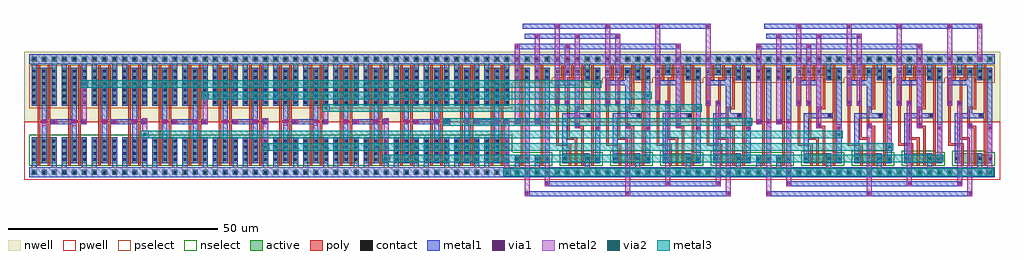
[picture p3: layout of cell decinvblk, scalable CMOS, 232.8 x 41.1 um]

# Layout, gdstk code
from math import pi, radians
import gdstk
lib = gdstk.Library(unit=1e-6, precision=1e-09)
def R(c, l, rs):  # rectangles x0, y0, x1, y1
    for r in rs: c.add(gdstk.rectangle(r[:2], r[2:], *l))
def A(c, l, x, y, w, h, nx, ny, dx, dy):  # array of equal rectangles
    R(c, l, [(x+i*dx, y+j*dy, x+i*dx+w, y+j*dy+h) for i in range(nx) for j in range(ny)])
contact = (25, 0)
pwell = (41, 0)
nwell = (42, 0)
active = (43, 0)
pselect = (44, 0)
nselect = (45, 0)
poly = (46, 0)
metal1 = (49, 0)
via1 = (50, 0)
metal2 = (51, 0)
via2 = (61, 0)
metal3 = (62, 0)

and3_1x = lib.new_cell('and3_1x')
A(and3_1x, contact, 0.3, -0.3, 0.6, 0.6, 5, 2, 2.4, 27)
A(and3_1x, contact, 0.3, 23.7, 0.6, 0.6, 3, 1, 2.4, 0)
R(and3_1x, contact, [(9.9,2.85,10.5,3.45), (2.1,3,2.7,3.6), (7.5,3,8.1,3.6), (5.1,10.8,5.7,11.4), (5.1,10.8,5.7,11.4), (7.8,13.2,8.4,13.8), (0.3,16.2,0.9,16.8), (2.7,16.2,3.3,16.8), (7.5,22.35,8.1,22.95), (9.9,22.35,10.5,22.95), (7.5,23.85,8.1,24.45), (9.9,23.85,10.5,24.45)])
A(and3_1x, pwell, -0.9, -1.5, 3, 3, 5, 1, 2.4, 0)
A(and3_1x, pwell, 0.6, 0.3, 6, 6, 3, 1, 1.5, 0)
R(and3_1x, pwell, [(-1.8,-1.8,12.6,12), (0,0.3,4.8,6.3), (5.4,0.3,10.2,6.3), (6,0.3,12,6), (7.8,0.3,12.6,6), (5.55,0.45,10.125,4.95), (5.475,0.6,10.05,5.1), (0.15,0.75,4.725,5.25), (7.875,0.75,12.45,5.25), (1.725,1.05,6.975,5.55), (3.225,1.05,8.475,5.55)])
A(and3_1x, nwell, -1.8, 21.3, 4.8, 5.4, 3, 1, 2.4, 0)
A(and3_1x, nwell, -1.2, 21.3, 6, 5.4, 3, 1, 2.4, 0)
A(and3_1x, nwell, -0.9, 25.5, 3, 3, 5, 1, 2.4, 0)
R(and3_1x, nwell, [(-1.8,12,12.6,28.8), (5.4,20.1,10.2,26.7), (6,20.1,12,26.7), (7.8,20.1,12.6,26.7), (5.55,21.15,10.125,25.65), (7.875,21.15,12.45,25.65), (0.675,21.3,5.25,25.8), (3.15,21.45,7.725,25.95), (5.475,21.45,10.05,25.95), (-1.65,21.75,2.925,26.25), (0.75,21.75,5.325,26.25), (3.075,21.75,7.65,26.25)])
A(and3_1x, active, 0, -0.6, 1.2, 1.2, 5, 2, 2.4, 27)
A(and3_1x, active, 2.4, 2.1, 2.4, 2.4, 3, 1, 1.5, 0)
A(and3_1x, active, 0, 23.1, 1.2, 1.8, 3, 1, 2.4, 0)
A(and3_1x, active, 0.6, 23.1, 2.4, 1.8, 3, 1, 2.4, 0)
R(and3_1x, active, [(1.8,2.1,3,4.5), (7.2,2.1,8.4,4.5), (7.8,2.1,10.2,4.2), (9.6,2.1,10.8,4.2), (7.35,2.25,8.325,3.15), (7.275,2.4,8.25,3.3), (1.95,2.55,2.925,3.45), (9.675,2.55,10.65,3.45), (3.525,2.85,5.175,3.75), (5.025,2.85,6.675,3.75), (7.2,21.9,8.4,24.9), (7.8,21.9,10.2,24.9), (9.6,21.9,10.8,24.9), (7.35,22.95,8.325,23.85), (9.675,22.95,10.65,23.85), (2.475,23.1,3.45,24), (4.95,23.25,5.925,24.15), (7.275,23.25,8.25,24.15), (0.15,23.55,1.125,24.45), (2.55,23.55,3.525,24.45), (4.875,23.55,5.85,24.45)])
A(and3_1x, pselect, -0.6, -1.2, 2.4, 2.4, 5, 1, 2.4, 0)
A(and3_1x, pselect, -0.6, 22.5, 2.4, 3, 3, 1, 2.4, 0)
A(and3_1x, pselect, 0, 22.5, 3.6, 3, 3, 1, 2.4, 0)
R(and3_1x, pselect, [(6.6,21.3,9,25.5), (7.2,21.3,10.8,25.5), (9,21.3,11.4,25.5), (6.75,22.35,8.925,24.45), (9.075,22.35,11.25,24.45), (1.875,22.5,4.05,24.6), (4.35,22.65,6.525,24.75), (6.675,22.65,8.85,24.75), (-0.45,22.95,1.725,25.05), (1.95,22.95,4.125,25.05), (4.275,22.95,6.45,25.05)])
A(and3_1x, nselect, 1.8, 1.5, 3.6, 3.6, 3, 1, 1.5, 0)
A(and3_1x, nselect, -0.6, 25.8, 2.4, 2.4, 5, 1, 2.4, 0)
R(and3_1x, nselect, [(1.2,1.5,3.6,5.1), (6.6,1.5,9,5.1), (7.2,1.5,10.8,4.8), (9,1.5,11.4,4.8), (6.75,1.65,8.925,3.75), (6.675,1.8,8.85,3.9), (1.35,1.95,3.525,4.05), (9.075,1.95,11.25,4.05), (2.925,2.25,5.775,4.35), (4.425,2.25,7.275,4.35)])
A(and3_1x, poly, 3.3, 1.5, 0.6, 3.6, 3, 1, 1.5, 0)
A(and3_1x, poly, 1.5, 22.5, 0.6, 3, 3, 1, 2.4, 0)
R(and3_1x, poly, [(8.7,1.5,9.3,4.8), (8.7,4.5,9.3,13.8), (3.3,4.8,3.9,6.9), (4.8,4.8,5.4,8.4), (6.3,4.8,6.9,11.1), (0.3,6.3,0.9,16.8), (0.3,6.3,3.9,6.9), (3,7.8,3.6,16.8), (3,7.8,5.4,8.4), (4.8,10.5,6,11.7), (4.8,10.5,6,11.7), (5.1,10.5,6.9,11.1), (5.1,10.5,5.7,11.4), (4.8,10.8,5.7,11.4), (4.8,10.8,5.4,15.6), (5.1,10.8,5.7,11.4), (7.5,12.9,8.7,14.1), (7.8,13.2,9.3,13.8), (8.7,13.2,9.3,21.6), (8.7,13.2,9.3,13.8), (4.8,15,6.9,15.6), (6.3,15,6.9,22.8), (0,15.9,1.2,17.1), (2.4,15.9,3.6,17.1), (0.3,16.2,0.9,22.5), (2.7,16.2,3.6,16.8), (3,16.2,3.6,22.5), (8.7,21,9.3,21.6), (8.7,21.3,9.3,25.5), (0.3,21.9,2.1,22.5), (1.5,21.9,2.1,22.8), (3,21.9,4.5,22.5), (3.9,21.9,4.5,22.8)])
A(and3_1x, metal1, -0.6, -1.2, 4.8, 2.4, 4, 1, 2.4, 0)
A(and3_1x, metal1, 0, -0.6, 1.2, 1.2, 5, 1, 2.4, 0)
A(and3_1x, metal1, 0, 23.1, 1.2, 1.8, 3, 1, 2.4, 0)
A(and3_1x, metal1, 0, 26.4, 1.2, 1.2, 4, 1, 2.4, 0)
R(and3_1x, metal1, [(-0.6,-1.2,1.8,1.2), (-0.6,-1.2,4.2,1.2), (7.2,-0.6,8.4,3.15), (1.8,2.1,3,4.5), (7.2,2.1,8.4,4.5), (9.6,2.1,10.8,4.2), (9.6,3,10.8,4.2), (9.6,3,10.8,11.1), (1.8,3.3,3,14.1), (9.6,9.9,10.8,11.1), (9.6,9.9,10.8,21.15), (4.8,10.5,6,11.7), (4.8,10.5,6,11.7), (4.8,10.5,6,11.7), (4.95,10.65,5.85,11.55), (1.8,12.9,6,14.1), (4.8,12.9,8.7,14.1), (4.8,12.9,6,21.9), (7.5,12.9,8.7,14.1), (0,15.9,1.2,17.1), (0,15.9,1.2,17.1), (2.4,15.9,3.6,17.1), (2.4,15.9,3.6,17.1), (0.15,16.05,1.05,16.95), (2.55,16.05,3.45,16.95), (9.6,19.95,10.8,21.15), (9.6,19.95,10.8,23.1), (0,20.7,1.2,24.3), (0,20.7,6,21.9), (4.8,20.7,6,24.3), (7.2,21.9,8.4,24.9), (9.6,21.9,10.8,24.9), (2.4,23.7,3.6,27.6), (7.2,23.7,8.4,27.6), (-0.6,25.8,1.8,28.2), (-0.6,25.8,4.2,28.2), (1.8,25.8,9,28.2), (6.6,25.8,11.4,28.2), (0,26.4,1.2,27.6), (4.8,26.4,8.4,27.6), (7.2,26.4,8.4,27.6), (9.6,26.4,10.8,27.6), (9.6,26.4,10.8,27.6)])
R(and3_1x, via1, [(9.9,10.2,10.5,10.8), (5.1,10.8,5.7,11.4), (0.3,16.2,0.9,16.8), (2.7,16.2,3.3,16.8)])
R(and3_1x, metal2, [(9.6,9.9,10.8,11.1), (4.8,10.5,6,11.7), (0,15.9,1.2,17.1), (2.4,15.9,3.6,17.1)])

inv_1x = lib.new_cell('inv_1x')
R(inv_1x, contact, [(0.3,-0.3,0.9,0.3), (2.7,-0.3,3.3,0.3), (0.3,2.85,0.9,3.45), (2.7,2.85,3.3,3.45), (0.6,11.7,1.2,12.3), (0.3,22.35,0.9,22.95), (2.7,22.35,3.3,22.95), (0.3,23.85,0.9,24.45), (2.7,23.85,3.3,24.45), (0.3,26.7,0.9,27.3), (2.7,26.7,3.3,27.3)])
R(inv_1x, pwell, [(-1.8,-1.8,5.4,12), (-0.9,-1.5,2.1,1.5), (1.5,-1.5,4.5,1.5), (-1.8,0.3,3,6), (-1.2,0.3,4.8,6), (0.6,0.3,5.4,6), (-1.65,0.9,2.925,5.4), (0.675,0.9,5.25,5.4), (0.75,0.9,5.25,6)])
R(inv_1x, nwell, [(-1.8,12,5.4,28.8), (-1.8,20.1,3,26.7), (-1.2,20.1,4.8,26.7), (0.6,20.1,5.4,26.7), (-1.65,21.15,2.925,25.65), (0.675,21.15,5.25,25.65), (-0.9,25.5,2.1,28.5), (1.5,25.5,4.5,28.5)])
R(inv_1x, active, [(0,-0.6,1.2,0.6), (2.4,-0.6,3.6,0.6), (0,2.1,1.2,4.2), (0.6,2.1,3,4.2), (2.4,2.1,3.6,4.2), (0.15,2.7,1.125,3.6), (2.475,2.7,3.45,3.6), (2.55,2.7,3.45,4.2), (0,21.9,1.2,24.9), (0.6,21.9,3,24.9), (2.4,21.9,3.6,24.9), (0.15,22.95,1.125,23.85), (2.475,22.95,3.45,23.85), (0,26.4,1.2,27.6), (2.4,26.4,3.6,27.6)])
R(inv_1x, pselect, [(-0.6,-1.2,1.8,1.2), (1.8,-1.2,4.2,1.2), (-0.6,21.3,1.8,25.5), (0,21.3,3.6,25.5), (1.8,21.3,4.2,25.5), (-0.45,22.35,1.725,24.45), (1.875,22.35,4.05,24.45)])
R(inv_1x, nselect, [(-0.6,1.5,1.8,4.8), (0,1.5,3.6,4.8), (1.8,1.5,4.2,4.8), (-0.45,2.1,1.725,4.2), (1.875,2.1,4.05,4.2), (1.95,2.1,4.05,4.8), (-0.6,25.8,1.8,28.2), (1.8,25.8,4.2,28.2)])
R(inv_1x, poly, [(1.5,1.5,2.1,4.8), (1.5,4.5,2.1,12.3), (0.3,11.4,1.5,12.6), (0.6,11.7,2.1,12.3), (1.5,11.7,2.1,21.6), (1.5,21.3,2.1,25.5)])
R(inv_1x, metal1, [(-0.6,-1.2,4.2,1.2), (-0.6,-1.2,4.2,1.2), (0,-0.6,1.2,0.6), (0,-0.6,1.2,3.15), (2.4,-0.6,3.6,0.6), (0,2.1,1.2,4.2), (2.4,2.1,3.6,4.2), (2.4,3.15,3.6,12.6), (0,11.4,1.2,12.6), (0.3,11.4,1.5,12.6), (0.3,11.4,1.5,12.6), (2.4,11.4,3.6,12.6), (2.4,11.4,3.6,22.95), (2.55,11.55,3.45,12.45), (0,21.9,1.2,24.9), (2.4,21.9,3.6,24.9), (0,23.85,1.2,27.6), (-0.6,25.8,1.8,28.2), (-0.6,25.8,4.2,28.2), (0,26.4,1.2,27.6), (0,26.4,1.2,27.6), (2.4,26.4,3.6,27.6)])
R(inv_1x, via1, [(0.3,11.7,0.9,12.3), (2.7,11.7,3.3,12.3)])
R(inv_1x, metal2, [(0,11.4,1.2,12.6), (2.4,11.4,3.6,12.6)])

endec = lib.new_cell('endec')
A(endec, metal1, 0, -10.2, 1.2, 1.2, 3, 1, 24, 0)
A(endec, metal1, 6.6, -5.7, 14.4, 2.4, 3, 2, 12, 27)
A(endec, metal1, 2.4, 27.3, 1.2, 1.2, 3, 1, 9.6, 0)
A(endec, metal1, 7.2, 29.7, 1.2, 1.2, 4, 1, 12, 0)
A(endec, metal1, 7.2, 29.7, 13.2, 1.2, 3, 1, 12, 0)
R(endec, metal1, [(0,-10.2,25.2,-9), (24,-10.2,49.2,-9), (4.8,-7.8,6,-6.6), (4.8,-7.8,34.8,-6.6), (33.6,-7.8,34.8,-6.6), (33.6,-7.8,46.8,-6.6), (45.6,-7.8,46.8,-6.6), (-3,-5.7,9,-3.3), (1.8,-5.7,9,-3.3), (0,6.9,1.2,8.1), (0,6.9,1.2,8.1), (4.8,6.9,6,8.1), (4.8,6.9,6,8.1), (-3,21.3,4.2,23.7), (1.8,21.3,9,23.7), (-2.4,24.9,-1.2,26.1), (-2.4,24.9,-1.2,26.1), (-2.4,24.9,10.8,26.1), (9.6,24.9,10.8,26.1), (9.6,24.9,37.2,26.1), (36,24.9,37.2,26.1), (0,27.3,3.6,28.5), (2.4,27.3,13.2,28.5), (12,27.3,22.8,28.5), (-0.45,29.7,8.4,30.9)])
A(endec, via1, 0.3, -9.9, 0.6, 0.6, 3, 1, 24, 0)
A(endec, via1, 2.7, 27.6, 0.6, 0.6, 3, 1, 9.6, 0)
A(endec, via1, 7.5, 30, 0.6, 0.6, 4, 1, 12, 0)
R(endec, via1, [(5.1,-7.5,5.7,-6.9), (33.9,-7.5,34.5,-6.9), (45.9,-7.5,46.5,-6.9), (0.3,7.2,0.9,7.8), (5.1,7.2,5.7,7.8), (-2.1,25.2,-1.5,25.8), (9.9,25.2,10.5,25.8), (36.3,25.2,36.9,25.8)])
A(endec, metal2, 0, -10.2, 1.2, 1.2, 3, 1, 24, 0)
A(endec, metal2, 7.2, 11.4, 1.2, 19.5, 4, 1, 12, 0)
A(endec, metal2, 2.4, 27.3, 1.2, 1.2, 3, 1, 9.6, 0)
A(endec, metal2, 7.2, 29.7, 1.2, 1.2, 4, 1, 12, 0)
R(endec, metal2, [(0,-10.2,1.2,8.1), (24,-10.2,25.2,7.2), (48,-10.2,49.2,7.2), (4.8,-7.8,6,-6.6), (4.8,-7.8,6,8.1), (33.6,-7.8,34.8,-6.6), (33.6,-7.8,34.8,12.6), (45.6,-7.8,46.8,-6.6), (45.6,-7.8,46.8,12.6), (12,6,13.2,28.5), (36,6,37.2,26.1), (-2.4,6.9,-1.2,26.1), (0,6.9,1.2,8.1), (2.4,6.9,3.6,28.5), (4.8,6.9,6,8.1), (9.6,11.4,10.8,26.1), (21.6,11.4,22.8,28.5), (-2.4,24.9,-1.2,26.1), (9.6,24.9,10.8,26.1), (36,24.9,37.2,26.1)])
endec.add(gdstk.Reference(and3_1x, (7.2,-4.5)))
endec.add(gdstk.Reference(and3_1x, (19.2,-4.5)))
endec.add(gdstk.Reference(and3_1x, (31.2,-4.5)))
endec.add(gdstk.Reference(and3_1x, (43.2,-4.5)))
endec.add(gdstk.Reference(inv_1x, (-2.4,-4.5)))
endec.add(gdstk.Reference(inv_1x, (2.4,-4.5)))

inv_6x = lib.new_cell('inv_6x')
A(inv_6x, contact, 0.3, -0.3, 0.6, 0.6, 3, 2, 2.4, 3)
A(inv_6x, contact, 0.3, 4.2, 0.6, 0.6, 3, 3, 2.4, 1.5)
A(inv_6x, contact, 0.3, 16.35, 0.6, 0.6, 3, 6, 2.4, 1.5)
A(inv_6x, contact, 0.3, 26.7, 0.6, 0.6, 3, 1, 2.4, 0)
R(inv_6x, contact, [(0.6,11.7,1.2,12.3)])
A(inv_6x, pwell, -0.9, -1.5, 3, 3, 3, 1, 2.4, 0)
A(inv_6x, pwell, -1.8, 0.3, 4.8, 9.9, 3, 1, 2.4, 0)
R(inv_6x, pwell, [(-1.8,-1.8,7.8,12), (-1.2,0.3,4.8,10.2), (1.2,0.3,7.2,10.2), (-1.65,2.85,2.925,7.35), (0.675,3,5.25,7.5), (0.75,3,5.325,7.5), (3.075,3.15,7.65,7.65)])
A(inv_6x, nwell, -1.8, 14.1, 4.8, 12.6, 3, 1, 2.4, 0)
A(inv_6x, nwell, -0.9, 25.5, 3, 3, 3, 1, 2.4, 0)
R(inv_6x, nwell, [(-1.8,12,7.8,28.8), (-1.2,14.1,4.8,26.7), (1.2,14.1,7.2,26.7), (0.675,17.55,5.25,22.05), (-1.65,18,2.925,22.5), (3.075,18.3,7.65,22.8), (0.75,18.6,5.325,23.1)])
A(inv_6x, active, 0, -0.6, 1.2, 1.2, 3, 2, 2.4, 27)
A(inv_6x, active, 0, 2.1, 1.2, 6.3, 3, 1, 2.4, 0)
A(inv_6x, active, 0, 15.9, 1.2, 9, 3, 1, 2.4, 0)
R(inv_6x, active, [(0.6,2.1,3,8.4), (3,2.1,5.4,8.4), (0.15,4.65,1.125,5.55), (2.475,4.8,3.45,5.7), (2.55,4.8,3.525,5.7), (4.875,4.95,5.85,5.85), (0.6,15.9,3,24.9), (3,15.9,5.4,24.9), (2.475,19.35,3.45,20.25), (0.15,19.8,1.125,20.7), (4.875,20.1,5.85,21), (2.55,20.4,3.525,21.3)])
A(inv_6x, pselect, -0.6, -1.2, 2.4, 2.4, 3, 1, 2.4, 0)
A(inv_6x, pselect, -0.6, 15.3, 2.4, 10.2, 3, 1, 2.4, 0)
R(inv_6x, pselect, [(0,15.3,3.6,25.5), (2.4,15.3,6,25.5), (1.875,18.75,4.05,20.85), (-0.45,19.2,1.725,21.3), (4.275,19.5,6.45,21.6), (1.95,19.8,4.125,21.9)])
A(inv_6x, nselect, -0.6, 1.5, 2.4, 7.5, 3, 1, 2.4, 0)
A(inv_6x, nselect, -0.6, 25.8, 2.4, 2.4, 3, 1, 2.4, 0)
R(inv_6x, nselect, [(0,1.5,3.6,9), (2.4,1.5,6,9), (-0.45,4.05,1.725,6.15), (1.875,4.2,4.05,6.3), (1.95,4.2,4.125,6.3), (4.275,4.35,6.45,6.45)])
R(inv_6x, poly, [(1.5,1.5,2.1,9), (3.9,1.5,4.5,9), (1.5,8.7,2.1,12.45), (3.9,8.7,4.5,12.45), (0.3,11.4,1.5,12.6), (0.6,11.7,1.2,12.45), (0.6,11.85,2.1,12.45), (1.5,11.85,2.1,15.6), (1.5,11.85,4.5,12.45), (3.9,11.85,4.5,15.6), (1.5,15.3,2.1,25.5), (3.9,15.3,4.5,25.5)])
A(inv_6x, metal1, 0, -0.6, 1.2, 1.2, 3, 2, 2.4, 27)
A(inv_6x, metal1, 0, 2.1, 1.2, 6.3, 3, 1, 2.4, 0)
A(inv_6x, metal1, 0, 15.9, 1.2, 9, 3, 1, 2.4, 0)
R(inv_6x, metal1, [(-0.6,-1.2,4.2,1.2), (-0.6,-1.2,4.2,1.2), (1.8,-1.2,6.6,1.2), (0,-0.6,1.2,3.15), (4.8,-0.6,6,3.15), (2.4,7.35,3.6,12.6), (0,11.4,1.2,12.6), (0,11.4,1.5,12.6), (0.3,11.4,1.5,12.6), (2.4,11.4,3.6,12.6), (2.4,11.4,3.6,16.95), (0,23.85,1.2,27.6), (4.8,23.85,6,27.6), (-0.6,25.8,1.8,28.2), (-0.6,25.8,4.2,28.2), (1.8,25.8,6.6,28.2), (0,26.4,1.2,27.6), (4.8,26.4,6,27.6)])
R(inv_6x, via1, [(0.3,11.7,0.9,12.3), (2.7,11.7,3.3,12.3)])
R(inv_6x, metal2, [(0,11.4,1.2,12.6), (2.4,11.4,3.6,12.6)])

decinvblk = lib.new_cell('decinvblk')
A(decinvblk, metal1, 2.1, -1.2, 9.6, 2.4, 10, 1, 7.2, 0)
A(decinvblk, metal1, 81.3, -1.2, 9.6, 2.4, 4, 1, 7.2, 0)
A(decinvblk, metal1, 2.7, 11.4, 6, 1.2, 8, 1, 14.4, 0)
A(decinvblk, metal1, 2.1, 25.8, 9.6, 2.4, 15, 1, 7.2, 0)
R(decinvblk, metal1, [(74.1,-1.2,90.9,1.2), (110.1,-1.2,114.9,1.2), (112.5,-1.2,172.5,1.2), (110.1,25.8,114.9,28.2), (112.5,25.8,172.5,28.2), (170.1,25.8,174.45,28.2), (170.1,25.8,225.3,28.2), (223.5,26.4,224.7,27.6), (172.65,34.2,224.4,35.4), (223.5,34.2,224.7,35.4)])
R(decinvblk, via1, [(223.8,26.7,224.4,27.3), (223.8,34.5,224.4,35.1)])
A(decinvblk, metal2, 14.7, 11.4, 1.2, 1.2, 6, 1, 7.2, 0)
A(decinvblk, metal2, 72.3, 11.4, 1.2, 1.2, 6, 1, 7.2, 0)
R(decinvblk, metal2, [(110.4,-0.9,112.2,0.9), (225.6,-0.9,227.4,0.9), (110.7,-0.6,111.9,12.9), (225.9,-0.6,227.1,11.4), (81.6,2.4,83.4,4.2), (213.6,2.4,215.4,4.2), (81.9,2.7,83.1,12.9), (213.9,2.7,215.1,11.4), (52.8,5.1,54.6,6.9), (201.6,5.1,203.4,6.9), (53.1,5.4,54.3,12.9), (201.9,5.4,203.1,11.4), (24,8.1,25.8,9.9), (189.6,8.1,191.4,9.9), (24.3,8.4,25.5,12.9), (189.9,8.4,191.1,11.4), (132.3,10.2,133.5,21.6), (144.3,10.2,145.5,18.9), (156.3,10.2,157.5,15.9), (168.3,10.2,169.5,12.6), (0.3,11.1,1.5,12.6), (7.5,11.1,8.7,12.6), (57.9,11.1,59.1,12.6), (65.1,11.1,66.3,12.6), (96,11.1,97.8,12.9), (168,11.1,169.8,12.9), (96.3,11.4,97.5,12.9), (9.9,11.7,11.1,21.6), (38.7,11.7,39.9,18.9), (67.5,11.7,68.7,15.9), (67.2,14.4,69,16.2), (156,14.4,157.8,16.2), (38.4,17.4,40.2,19.2), (144,17.4,145.8,19.2), (9.6,20.1,11.4,21.9), (132,20.1,133.8,21.9), (223.5,26.4,224.7,27.6), (223.5,26.4,224.7,35.4), (223.5,34.2,224.7,35.4)])
R(decinvblk, via2, [(111,-0.3,111.6,0.3), (226.2,-0.3,226.8,0.3), (82.2,3,82.8,3.6), (214.2,3,214.8,3.6), (53.4,5.7,54,6.3), (202.2,5.7,202.8,6.3), (24.6,8.7,25.2,9.3), (190.2,8.7,190.8,9.3), (96.6,11.7,97.2,12.3), (168.6,11.7,169.2,12.3), (67.8,15,68.4,15.6), (156.6,15,157.2,15.6), (39,18,39.6,18.6), (144.6,18,145.2,18.6), (10.2,20.7,10.8,21.3), (132.6,20.7,133.2,21.3)])
R(decinvblk, metal3, [(110.4,-0.9,112.2,0.9), (110.4,-0.9,227.4,0.9), (225.6,-0.9,227.4,0.9), (81.6,2.4,83.4,4.2), (81.6,2.4,215.4,4.2), (213.6,2.4,215.4,4.2), (52.8,5.1,54.6,6.9), (52.8,5.1,203.4,6.9), (201.6,5.1,203.4,6.9), (24,8.1,25.8,9.9), (24,8.1,191.4,9.9), (189.6,8.1,191.4,9.9), (96,11.1,97.8,12.9), (96,11.1,169.8,12.9), (168,11.1,169.8,12.9), (67.2,14.4,69,16.2), (67.2,14.4,157.8,16.2), (156,14.4,157.8,16.2), (38.4,17.4,40.2,19.2), (38.4,17.4,145.8,19.2), (144,17.4,145.8,19.2), (9.6,20.1,11.4,21.9), (9.6,20.1,133.8,21.9), (132,20.1,133.8,21.9)])
decinvblk.add(gdstk.Reference(endec, (115.5,4.5)))
decinvblk.add(gdstk.Reference(endec, (173.1,4.5)))
decinvblk.add(gdstk.Reference(inv_6x, (111.9,0), rotation=pi, x_reflection=True))
decinvblk.add(gdstk.Reference(inv_6x, (104.7,0), rotation=pi, x_reflection=True))
decinvblk.add(gdstk.Reference(inv_6x, (83.1,0), rotation=pi, x_reflection=True))
decinvblk.add(gdstk.Reference(inv_6x, (75.9,0), rotation=pi, x_reflection=True))
decinvblk.add(gdstk.Reference(inv_6x, (68.7,0), rotation=pi, x_reflection=True))
decinvblk.add(gdstk.Reference(inv_6x, (61.5,0), rotation=pi, x_reflection=True))
decinvblk.add(gdstk.Reference(inv_6x, (54.3,0), rotation=pi, x_reflection=True))
decinvblk.add(gdstk.Reference(inv_6x, (47.1,0), rotation=pi, x_reflection=True))
decinvblk.add(gdstk.Reference(inv_6x, (39.9,0), rotation=pi, x_reflection=True))
decinvblk.add(gdstk.Reference(inv_6x, (32.7,0), rotation=pi, x_reflection=True))
decinvblk.add(gdstk.Reference(inv_6x, (11.1,0), rotation=pi, x_reflection=True))
decinvblk.add(gdstk.Reference(inv_6x, (3.9,0), rotation=pi, x_reflection=True))
decinvblk.add(gdstk.Reference(inv_6x, (25.5,0), rotation=pi, x_reflection=True))
decinvblk.add(gdstk.Reference(inv_6x, (18.3,0), rotation=pi, x_reflection=True))
decinvblk.add(gdstk.Reference(inv_6x, (97.5,0), rotation=pi, x_reflection=True))
decinvblk.add(gdstk.Reference(inv_6x, (90.3,0), rotation=pi, x_reflection=True))

lib.write_gds('decinvblk.gds')
